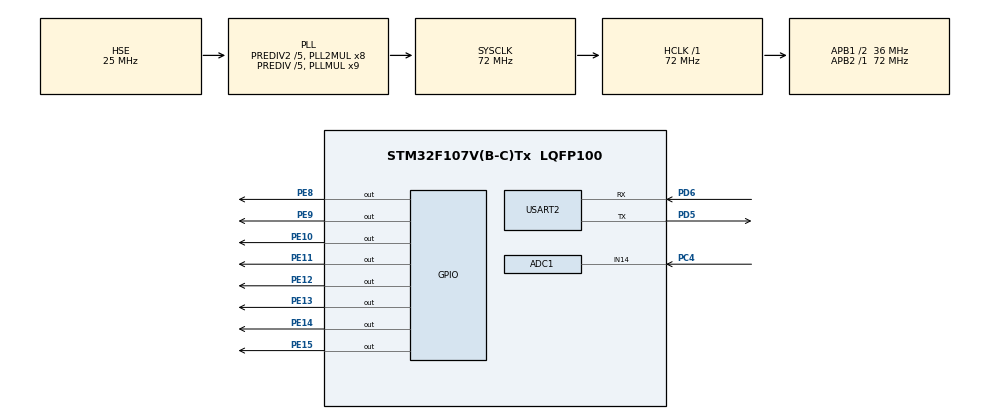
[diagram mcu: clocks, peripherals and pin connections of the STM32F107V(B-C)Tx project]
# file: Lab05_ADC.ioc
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ADC1.Channel-0\#ChannelRegularConversion=ADC_CHANNEL_14
ADC1.ContinuousConvMode=ENABLE
ADC1.NbrOfConversionFlag=1
ADC1.Rank-0\#ChannelRegularConversion=1
ADC1.SamplingTime-0\#ChannelRegularConversion=ADC_SAMPLETIME_1CYCLE_5
ADC1.master=1
Mcu.Family=STM32F1
Mcu.Name=STM32F107V(B-C)Tx
Mcu.Package=LQFP100
NVIC.PriorityGroup=NVIC_PRIORITYGROUP_4
OSC_IN.Mode=HSE-External-Oscillator
OSC_IN.Signal=RCC_OSC_IN
OSC_OUT.Mode=HSE-External-Oscillator
OSC_OUT.Signal=RCC_OSC_OUT
PC4.Signal=ADCx_IN14
PD5.Mode=Asynchronous
PD5.Signal=USART2_TX
PD6.Mode=Asynchronous
PD6.Signal=USART2_RX
PE10.GPIO_Speed=GPIO_SPEED_FREQ_HIGH
PE10.Signal=GPIO_Output
PE11.GPIO_Speed=GPIO_SPEED_FREQ_HIGH
PE11.Signal=GPIO_Output
PE12.GPIO_Speed=GPIO_SPEED_FREQ_HIGH
PE12.Signal=GPIO_Output
PE13.GPIO_Speed=GPIO_SPEED_FREQ_HIGH
PE13.Signal=GPIO_Output
PE14.GPIO_Speed=GPIO_SPEED_FREQ_HIGH
PE14.Signal=GPIO_Output
PE15.GPIO_Speed=GPIO_SPEED_FREQ_HIGH
PE15.Signal=GPIO_Output
PE8.GPIO_Speed=GPIO_SPEED_FREQ_HIGH
PE8.PinState=GPIO_PIN_RESET
PE8.Signal=GPIO_Output
PE9.GPIO_Speed=GPIO_SPEED_FREQ_HIGH
PE9.Signal=GPIO_Output
ProjectManager.HeapSize=0x200
ProjectManager.StackSize=0x400
ProjectManager.TargetToolchain=MDK-ARM V5
RCC.ADCPresc=RCC_ADCPCLK2_DIV6
RCC.AHBFreq_Value=72000000
RCC.APB1CLKDivider=RCC_HCLK_DIV2
RCC.APB1Freq_Value=36000000
RCC.APB1TimFreq_Value=72000000
RCC.APB2Freq_Value=72000000
RCC.APB2TimFreq_Value=72000000
RCC.HCLKFreq_Value=72000000
RCC.HSEDivPLL=RCC_HSE_PREDIV_DIV5
RCC.HSE_VALUE=25000000
RCC.PLLMUL=RCC_PLL_MUL9
RCC.PLLSourceVirtual=RCC_PLLSOURCE_HSE
RCC.Prediv1Source=RCC_PREDIV1_SOURCE_PLL2
RCC.Prediv2=RCC_HSE_PREDIV2_DIV5
RCC.SYSCLKFreq_VALUE=72000000
RCC.SYSCLKSource=RCC_SYSCLKSOURCE_PLLCLK
RCC.USBFreq_Value=48000000
SH.ADCx_IN14.0=ADC1_IN14,IN14
USART2.VirtualMode=VM_ASYNC
VP_SYS_VS_ND.Mode=No_Debug
board=Lab05_ADC

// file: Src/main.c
/**
  ******************************************************************************
  * File Name          : main.c
  * Description        : Main program body
  ******************************************************************************
  ** This notice applies to any and all portions of this file
  * that are not between comment pairs USER CODE BEGIN and
  * USER CODE END. Other portions of this file, whether
  * inserted by the user or by software development tools
  * are owned by their respective copyright owners.
  *
  * COPYRIGHT(c) 2018 STMicroelectronics
  *
  * Redistribution and use in source and binary forms, with or without modification,
  * are permitted provided that the following conditions are met:
  *   1. Redistributions of source code must retain the above copyright notice,
  *      this list of conditions and the following disclaimer.
  *   2. Redistributions in binary form must reproduce the above copyright notice,
  *      this list of conditions and the following disclaimer in the documentation
  *      and/or other materials provided with the distribution.
  *   3. Neither the name of STMicroelectronics nor the names of its contributors
  *      may be used to endorse or promote products derived from this software
  *      without specific prior written permission.
  *
  * THIS SOFTWARE IS PROVIDED BY THE COPYRIGHT HOLDERS AND CONTRIBUTORS "AS IS"
  * AND ANY EXPRESS OR IMPLIED WARRANTIES, INCLUDING, BUT NOT LIMITED TO, THE
  * IMPLIED WARRANTIES OF MERCHANTABILITY AND FITNESS FOR A PARTICULAR PURPOSE ARE
  * DISCLAIMED. IN NO EVENT SHALL THE COPYRIGHT HOLDER OR CONTRIBUTORS BE LIABLE
  * FOR ANY DIRECT, INDIRECT, INCIDENTAL, SPECIAL, EXEMPLARY, OR CONSEQUENTIAL
  * DAMAGES (INCLUDING, BUT NOT LIMITED TO, PROCUREMENT OF SUBSTITUTE GOODS OR
  * SERVICES; LOSS OF USE, DATA, OR PROFITS; OR BUSINESS INTERRUPTION) HOWEVER
  * CAUSED AND ON ANY THEORY OF LIABILITY, WHETHER IN CONTRACT, STRICT LIABILITY,
  * OR TORT (INCLUDING NEGLIGENCE OR OTHERWISE) ARISING IN ANY WAY OUT OF THE USE
  * OF THIS SOFTWARE, EVEN IF ADVISED OF THE POSSIBILITY OF SUCH DAMAGE.
  *
  ******************************************************************************
  */

#include "main.h"
#include "stm32f1xx_hal.h"

ADC_HandleTypeDef hadc1;

UART_HandleTypeDef huart2;

/* USER CODE BEGIN PV */
/* Private variables ---------------------------------------------------------*/

/* USER CODE END PV */

void SystemClock_Config(void);
static void MX_GPIO_Init(void);
static void MX_ADC1_Init(void);
static void MX_USART2_UART_Init(void);

/* USER CODE BEGIN PFP */
/* Private function prototypes -----------------------------------------------*/
void displayHEX(uint16_t);
void displayLED(uint16_t);

/* USER CODE END PFP */

int main(void)
{

  /* MCU Configuration----------------------------------------------------------*/

  /* Reset of all peripherals, Initializes the Flash interface and the Systick. */
  HAL_Init();

  /* Configure the system clock */
  SystemClock_Config();

  /* Initialize all configured peripherals */
  MX_GPIO_Init();
  MX_ADC1_Init();
  MX_USART2_UART_Init();

  /* USER CODE BEGIN 2 */
	volatile uint16_t adc_val;
	HAL_ADCEx_Calibration_Start(&hadc1);
	HAL_ADC_Start(&hadc1);
  /* USER CODE END 2 */

  /* Infinite loop */
  while (1)
  {

  /* USER CODE BEGIN 3 */
	while ( HAL_ADC_PollForConversion(&hadc1, 100) != HAL_OK ) {}
	adc_val = HAL_ADC_GetValue(&hadc1);
	displayHEX(adc_val);
	displayLED(adc_val);
	HAL_Delay(300);
  }
  /* USER CODE END 3 */

}

/** System Clock Configuration
*/
void SystemClock_Config(void)
{

  RCC_OscInitTypeDef RCC_OscInitStruct;
  RCC_ClkInitTypeDef RCC_ClkInitStruct;
  RCC_PeriphCLKInitTypeDef PeriphClkInit;

    /**Initializes the CPU, AHB and APB busses clocks
    */
  RCC_OscInitStruct.OscillatorType = RCC_OSCILLATORTYPE_HSE;
  RCC_OscInitStruct.HSEState = RCC_HSE_ON;
  RCC_OscInitStruct.HSEPredivValue = RCC_HSE_PREDIV_DIV5;
  RCC_OscInitStruct.HSIState = RCC_HSI_ON;
  RCC_OscInitStruct.Prediv1Source = RCC_PREDIV1_SOURCE_PLL2;
  RCC_OscInitStruct.PLL.PLLState = RCC_PLL_ON;
  RCC_OscInitStruct.PLL.PLLSource = RCC_PLLSOURCE_HSE;
  RCC_OscInitStruct.PLL.PLLMUL = RCC_PLL_MUL9;
  RCC_OscInitStruct.PLL2.PLL2State = RCC_PLL2_ON;
  RCC_OscInitStruct.PLL2.PLL2MUL = RCC_PLL2_MUL8;
  RCC_OscInitStruct.PLL2.HSEPrediv2Value = RCC_HSE_PREDIV2_DIV5;
  if (HAL_RCC_OscConfig(&RCC_OscInitStruct) != HAL_OK)
  {
    _Error_Handler(__FILE__, __LINE__);
  }

    /**Initializes the CPU, AHB and APB busses clocks
    */
  RCC_ClkInitStruct.ClockType = RCC_CLOCKTYPE_HCLK|RCC_CLOCKTYPE_SYSCLK
                              |RCC_CLOCKTYPE_PCLK1|RCC_CLOCKTYPE_PCLK2;
  RCC_ClkInitStruct.SYSCLKSource = RCC_SYSCLKSOURCE_PLLCLK;
  RCC_ClkInitStruct.AHBCLKDivider = RCC_SYSCLK_DIV1;
  RCC_ClkInitStruct.APB1CLKDivider = RCC_HCLK_DIV2;
  RCC_ClkInitStruct.APB2CLKDivider = RCC_HCLK_DIV1;

  if (HAL_RCC_ClockConfig(&RCC_ClkInitStruct, FLASH_LATENCY_2) != HAL_OK)
  {
    _Error_Handler(__FILE__, __LINE__);
  }

  PeriphClkInit.PeriphClockSelection = RCC_PERIPHCLK_ADC;
  PeriphClkInit.AdcClockSelection = RCC_ADCPCLK2_DIV6;
  if (HAL_RCCEx_PeriphCLKConfig(&PeriphClkInit) != HAL_OK)
  {
    _Error_Handler(__FILE__, __LINE__);
  }

    /**Configure the Systick interrupt time
    */
  HAL_SYSTICK_Config(HAL_RCC_GetHCLKFreq()/1000);

    /**Configure the Systick
    */
  HAL_SYSTICK_CLKSourceConfig(SYSTICK_CLKSOURCE_HCLK);

    /**Configure the Systick interrupt time
    */
  __HAL_RCC_PLLI2S_ENABLE();

  /* SysTick_IRQn interrupt configuration */
  HAL_NVIC_SetPriority(SysTick_IRQn, 0, 0);
}

/* ADC1 init function */
static void MX_ADC1_Init(void)
{

  ADC_ChannelConfTypeDef sConfig;

    /**Common config
    */
  hadc1.Instance = ADC1;
  hadc1.Init.ScanConvMode = ADC_SCAN_DISABLE;
  hadc1.Init.ContinuousConvMode = ENABLE;
  hadc1.Init.DiscontinuousConvMode = DISABLE;
  hadc1.Init.ExternalTrigConv = ADC_SOFTWARE_START;
  hadc1.Init.DataAlign = ADC_DATAALIGN_RIGHT;
  hadc1.Init.NbrOfConversion = 1;
  if (HAL_ADC_Init(&hadc1) != HAL_OK)
  {
    _Error_Handler(__FILE__, __LINE__);
  }

    /**Configure Regular Channel
    */
  sConfig.Channel = ADC_CHANNEL_14;
  sConfig.Rank = 1;
  sConfig.SamplingTime = ADC_SAMPLETIME_1CYCLE_5;
  if (HAL_ADC_ConfigChannel(&hadc1, &sConfig) != HAL_OK)
  {
    _Error_Handler(__FILE__, __LINE__);
  }

}

/* USART2 init function */
static void MX_USART2_UART_Init(void)
{

  huart2.Instance = USART2;
  huart2.Init.BaudRate = 115200;
  huart2.Init.WordLength = UART_WORDLENGTH_8B;
  huart2.Init.StopBits = UART_STOPBITS_1;
  huart2.Init.Parity = UART_PARITY_NONE;
  huart2.Init.Mode = UART_MODE_TX_RX;
  huart2.Init.HwFlowCtl = UART_HWCONTROL_NONE;
  huart2.Init.OverSampling = UART_OVERSAMPLING_16;
  if (HAL_UART_Init(&huart2) != HAL_OK)
  {
    _Error_Handler(__FILE__, __LINE__);
  }

}

/** Configure pins as
        * Analog
        * Input
        * Output
        * EVENT_OUT
        * EXTI
*/
static void MX_GPIO_Init(void)
{

  GPIO_InitTypeDef GPIO_InitStruct;

  /* GPIO Ports Clock Enable */
  __HAL_RCC_GPIOC_CLK_ENABLE();
  __HAL_RCC_GPIOE_CLK_ENABLE();
  __HAL_RCC_GPIOD_CLK_ENABLE();

  /*Configure GPIO pin Output Level */
  HAL_GPIO_WritePin(GPIOE, GPIO_PIN_8|GPIO_PIN_9|GPIO_PIN_10|GPIO_PIN_11
                          |GPIO_PIN_12|GPIO_PIN_13|GPIO_PIN_14|GPIO_PIN_15, GPIO_PIN_RESET);

  /*Configure GPIO pins : PE8 PE9 PE10 PE11
                           PE12 PE13 PE14 PE15 */
  GPIO_InitStruct.Pin = GPIO_PIN_8|GPIO_PIN_9|GPIO_PIN_10|GPIO_PIN_11
                          |GPIO_PIN_12|GPIO_PIN_13|GPIO_PIN_14|GPIO_PIN_15;
  GPIO_InitStruct.Mode = GPIO_MODE_OUTPUT_PP;
  GPIO_InitStruct.Speed = GPIO_SPEED_FREQ_HIGH;
  HAL_GPIO_Init(GPIOE, &GPIO_InitStruct);

}

/* USER CODE BEGIN 4 */
void displayHEX(uint16_t dec) {
	char hex[8];
	sprintf(hex, "0x%04X\r\n", dec);
	while(__HAL_UART_GET_FLAG(&huart2, UART_FLAG_TC) == RESET) {}
	HAL_UART_Transmit(&huart2, (uint8_t*)hex, 8, 100);
}

void displayLED(uint16_t dec) {
	static uint16_t step[] = {0x0000, 0x0100, 0x0300, 0x0700, 0x0f00, 0x1f00, 0x3f00, 0x7f00, 0xff00};
	uint16_t level = (dec/456);
	GPIOE->ODR = step[level];
}

/* USER CODE END 4 */

void _Error_Handler(char * file, int line)
{
  while(1)
  {
  }
}

/************************ (C) COPYRIGHT STMicroelectronics *****END OF FILE****/
